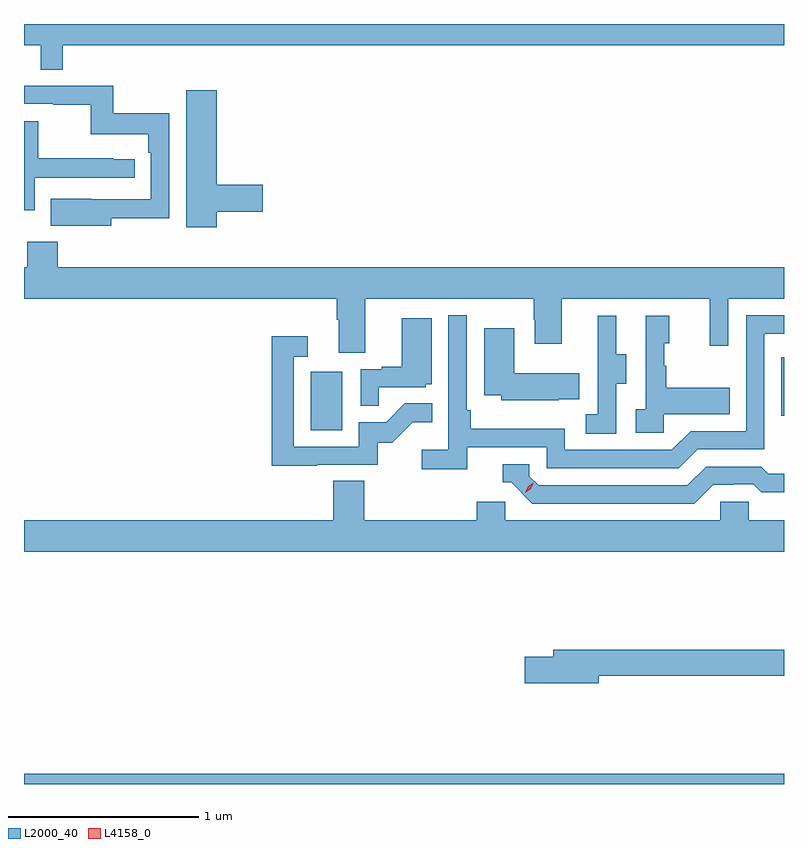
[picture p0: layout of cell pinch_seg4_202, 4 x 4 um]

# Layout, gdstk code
import gdstk
lib = gdstk.Library(unit=1e-6, precision=1e-09)
def R(c, l, rs):  # rectangles x0, y0, x1, y1
    for r in rs: c.add(gdstk.rectangle(r[:2], r[2:], *l))
def P(c, l, *ps):  # polygons
    for p in ps: c.add(gdstk.Polygon(p, *l))
L2000_40 = (2000, 40)
L4158_0 = (4158, 0)

pinch_seg4_202 = lib.new_cell('pinch_seg4_202')
R(pinch_seg4_202, L2000_40, [(980.548,811.581,984.548,811.636), (982.058,813.444,982.222,813.751), (984.534,813.519,984.548,813.828)])
P(pinch_seg4_202, L2000_40, [(980.753,815.468),(984.548,815.468),(984.548,815.581),(980.548,815.581),(980.548,815.468),(980.637,815.468),(980.637,815.341),(980.753,815.341)],
  [(981.007,814.558),(981.312,814.558),(981.312,815.11),(981.019,815.11),(981.019,815.256),(980.548,815.256),(980.548,815.16),(980.701,815.16),(980.701,815.155),(980.898,815.155),(980.898,815),(981.203,815),(981.203,814.904),(981.216,814.904),(981.216,814.659),(980.903,814.659),(980.903,814.66),(980.689,814.66),(980.689,814.52),(981.007,814.52)],
  [(981.562,814.594),(981.805,814.594),(981.805,814.736),(981.562,814.736),(981.562,815.233),(981.401,815.233),(981.401,814.512),(981.562,814.512)],
  [(980.604,814.773),(981.13,814.773),(981.13,814.869),(981.017,814.869),(981.017,814.874),(980.624,814.874),(980.624,815.07),(980.548,815.07),(980.548,814.601),(980.604,814.601)],
  [(982.345,814.136),(983.23,814.136),(983.23,814.025),(983.237,814.025),(983.237,813.897),(983.377,813.897),(983.377,814.136),(984.158,814.136),(984.158,813.888),(984.255,813.888),(984.255,814.136),(984.548,814.136),(984.548,814.3),(980.726,814.3),(980.726,814.435),(980.566,814.435),(980.566,814.3),(980.548,814.3),(980.548,814.136),(982.193,814.136),(982.193,814.024),(982.205,814.024),(982.205,813.85),(982.345,813.85)],
  [(982.88,813.354),(983.298,813.354),(983.298,813.243),(983.995,813.243),(984.094,813.342),(984.444,813.342),(984.444,813.951),(984.548,813.951),(984.548,814.047),(984.348,814.047),(984.348,813.438),(984.057,813.438),(983.958,813.339),(983.394,813.339),(983.394,813.451),(982.898,813.451),(982.898,813.547),(982.878,813.547),(982.878,814.048),(982.782,814.048),(982.782,813.34),(982.641,813.34),(982.641,813.238),(982.88,813.238)],
  [(983.916,813.527),(984.263,813.527),(984.263,813.667),(983.929,813.667),(983.929,813.782),(983.919,813.782),(983.919,813.9),(983.944,813.9),(983.944,814.045),(983.82,814.045),(983.82,813.554),(983.769,813.554),(983.769,813.429),(983.916,813.429)],
  [(983.664,813.688),(983.719,813.688),(983.719,813.843),(983.665,813.843),(983.665,814.045),(983.567,814.045),(983.567,813.831),(983.568,813.831),(983.568,813.527),(983.505,813.527),(983.505,813.424),(983.664,813.424)],
  [(982.415,813.669),(982.662,813.669),(982.662,813.684),(982.693,813.684),(982.693,814.033),(982.535,814.033),(982.535,813.778),(982.431,813.778),(982.431,813.765),(982.32,813.765),(982.32,813.571),(982.415,813.571)],
  [(983.363,813.605),(983.471,813.605),(983.471,813.742),(983.128,813.742),(983.128,813.979),(982.97,813.979),(982.97,813.626),(983.061,813.626),(983.061,813.602),(983.363,813.602)],
  [(982.091,813.261),(982.41,813.261),(982.41,813.378),(982.486,813.378),(982.593,813.485),(982.697,813.485),(982.697,813.584),(982.553,813.584),(982.455,813.486),(982.311,813.486),(982.311,813.357),(981.969,813.357),(981.969,813.831),(982.042,813.831),(982.042,813.937),(981.853,813.937),(981.853,813.256),(982.091,813.256)],
  [(984.175,813.156),(984.282,813.156),(984.282,813.159),(984.385,813.159),(984.427,813.117),(984.548,813.117),(984.548,813.213),(984.466,813.213),(984.427,813.252),(984.138,813.252),(984.039,813.153),(983.256,813.153),(983.208,813.201),(983.208,813.264),(983.069,813.264),(983.069,813.168),(983.112,813.168),(983.223,813.057),(984.076,813.057)],
  [(984.548,812.968),(984.363,812.968),(984.363,813.066),(984.213,813.066),(984.213,812.968),(983.082,812.968),(983.082,813.066),(982.931,813.066),(982.931,812.968),(982.34,812.968),(982.34,813.176),(982.175,813.176),(982.175,812.968),(980.548,812.968),(980.548,812.804),(984.548,812.804)],
  [(983.572,812.152),(984.548,812.152),(984.548,812.288),(983.333,812.288),(983.333,812.252),(983.184,812.252),(983.184,812.11),(983.572,812.11)])
P(pinch_seg4_202, L4158_0, [(983.185,813.114),(983.185,813.115),(983.201,813.148),(983.232,813.167),(983.232,813.167),(983.232,813.167),(983.216,813.134),(983.185,813.114)])

lib.write_gds('pinch_seg4_202.gds')
